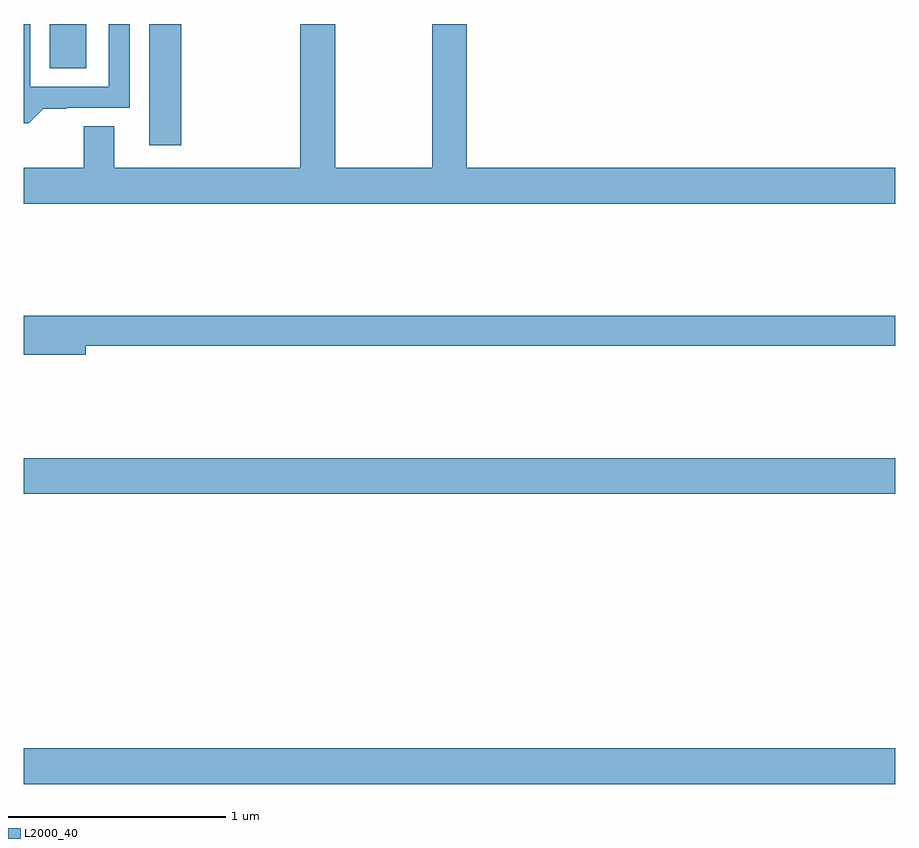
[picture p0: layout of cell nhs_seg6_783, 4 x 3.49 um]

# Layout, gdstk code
import gdstk
lib = gdstk.Library(unit=1e-6, precision=1e-09)
def R(c, l, rs):  # rectangles x0, y0, x1, y1
    for r in rs: c.add(gdstk.rectangle(r[:2], r[2:], *l))
def P(c, l, *ps):  # polygons
    for p in ps: c.add(gdstk.Polygon(p, *l))
L2000_40 = (2000, 40)

nhs_seg6_783 = lib.new_cell('nhs_seg6_783')
R(nhs_seg6_783, L2000_40, [(161,938.012,165,938.176), (161,939.344,165,939.508), (161.576,940.944,161.723,941.5), (161.12,941.296,161.287,941.5)])
P(nhs_seg6_783, L2000_40, [(165,940.84),(163.034,940.84),(163.034,941.5),(162.874,941.5),(162.874,940.84),(162.429,940.84),(162.429,941.5),(162.269,941.5),(162.269,940.84),(161.416,940.84),(161.416,941.03),(161.276,941.03),(161.276,940.84),(161,940.84),(161,940.676),(165,940.676)],
  [(161.089,941.11),(161.197,941.11),(161.197,941.115),(161.487,941.115),(161.487,941.5),(161.391,941.5),(161.391,941.211),(161.031,941.211),(161.031,941.5),(161,941.5),(161,941.045),(161.024,941.045)],
  [(161.284,940.024),(165,940.024),(165,940.16),(161,940.16),(161,939.982),(161.284,939.982)])

lib.write_gds('nhs_seg6_783.gds')
